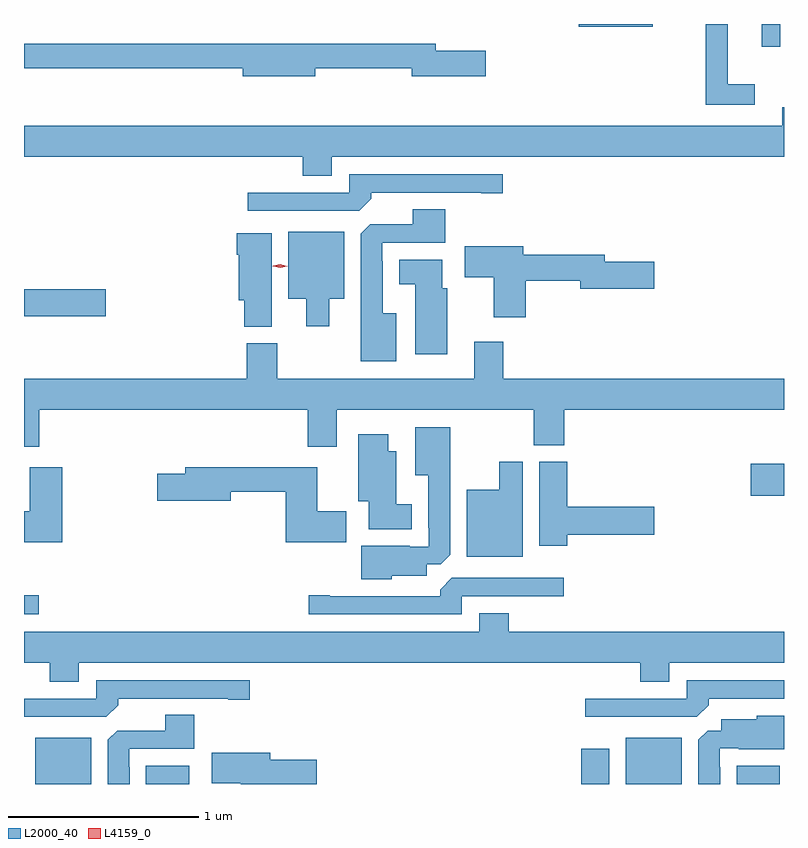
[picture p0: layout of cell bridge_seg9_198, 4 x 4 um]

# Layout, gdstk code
import gdstk
lib = gdstk.Library(unit=1e-6, precision=1e-09)
def R(c, l, rs):  # rectangles x0, y0, x1, y1
    for r in rs: c.add(gdstk.rectangle(r[:2], r[2:], *l))
def P(c, l, *ps):  # polygons
    for p in ps: c.add(gdstk.Polygon(p, *l))
L2000_40 = (2000, 40)
L4159_0 = (4159, 0)

bridge_seg9_198 = lib.new_cell('bridge_seg9_198')
R(bridge_seg9_198, L2000_40, [(169.802,1194.451,170.095,1194.694), (170.384,1194.451,170.611,1194.547), (172.676,1194.451,172.822,1194.637), (172.91,1194.451,173.203,1194.694), (173.492,1194.451,173.719,1194.547), (169.742,1195.344,169.819,1195.445), (173.568,1195.967,173.742,1196.137), (169.742,1196.914,170.173,1197.056), (173.625,1198.332,173.721,1198.451), (172.662,1198.436,173.05,1198.451)])
P(bridge_seg9_198, L2000_40, [(173.587,1198.135),(173.447,1198.135),(173.447,1198.451),(173.329,1198.451),(173.329,1198.026),(173.587,1198.026)],
  [(171.274,1198.218),(171.782,1198.218),(171.782,1198.175),(172.171,1198.175),(172.171,1198.31),(171.91,1198.31),(171.91,1198.346),(169.742,1198.346),(169.742,1198.218),(170.894,1198.218),(170.894,1198.175),(171.274,1198.175)],
  [(171.361,1197.752),(173.742,1197.752),(173.742,1198.014),(173.732,1198.014),(173.732,1197.916),(169.742,1197.916),(169.742,1197.752),(171.209,1197.752),(171.209,1197.653),(171.361,1197.653)],
  [(171.569,1197.53),(171.569,1197.564),(172.148,1197.564),(172.148,1197.559),(172.261,1197.559),(172.261,1197.66),(171.453,1197.66),(171.453,1197.564),(170.919,1197.564),(170.919,1197.468),(171.507,1197.468)],
  [(171.7,1196.929),(171.631,1196.929),(171.631,1197.203),(171.627,1197.203),(171.627,1197.3),(171.958,1197.3),(171.958,1197.475),(171.788,1197.475),(171.788,1197.396),(171.564,1197.396),(171.515,1197.347),(171.515,1196.675),(171.7,1196.675)],
  [(171.349,1197.005),(171.427,1197.005),(171.427,1197.358),(171.134,1197.358),(171.134,1197.005),(171.227,1197.005),(171.227,1196.859),(171.349,1196.859)],
  [(171.046,1197.349),(170.861,1197.349),(170.861,1197.236),(170.873,1197.236),(170.873,1196.996),(170.9,1196.996),(170.9,1196.857),(171.046,1196.857)],
  [(172.382,1197.1),(172.67,1197.1),(172.67,1197.058),(173.059,1197.058),(173.059,1197.2),(172.798,1197.2),(172.798,1197.236),(172.369,1197.236),(172.369,1197.28),(172.062,1197.28),(172.062,1197.118),(172.214,1197.118),(172.214,1196.907),(172.382,1196.907)],
  [(171.97,1197.06),(171.943,1197.06),(171.943,1197.211),(171.716,1197.211),(171.716,1197.08),(171.8,1197.08),(171.8,1196.712),(171.97,1196.712)],
  [(169.823,1196.42),(171.236,1196.42),(171.236,1196.226),(171.388,1196.226),(171.388,1196.42),(172.426,1196.42),(172.426,1196.233),(172.586,1196.233),(172.586,1196.42),(173.742,1196.42),(173.742,1196.584),(172.265,1196.584),(172.265,1196.779),(172.112,1196.779),(172.112,1196.584),(171.075,1196.584),(171.075,1196.772),(170.915,1196.772),(170.915,1196.584),(169.742,1196.584),(169.742,1196.226),(169.823,1196.226)],
  [(171.678,1195.547),(171.862,1195.547),(171.862,1195.608),(171.936,1195.608),(171.985,1195.657),(171.985,1196.329),(171.8,1196.329),(171.8,1196.075),(171.869,1196.075),(171.869,1195.801),(171.873,1195.801),(171.873,1195.701),(171.773,1195.701),(171.773,1195.705),(171.518,1195.705),(171.518,1195.529),(171.678,1195.529)],
  [(171.784,1195.924),(171.7,1195.924),(171.7,1196.203),(171.658,1196.203),(171.658,1196.293),(171.5,1196.293),(171.5,1195.94),(171.557,1195.94),(171.557,1195.793),(171.784,1195.793)],
  [(172.601,1195.763),(173.059,1195.763),(173.059,1195.91),(172.601,1195.91),(172.601,1196.148),(172.454,1196.148),(172.454,1195.704),(172.601,1195.704)],
  [(172.366,1196.146),(172.244,1196.146),(172.244,1195.999),(172.073,1195.999),(172.073,1195.646),(172.366,1195.646)],
  [(171.439,1195.887),(171.286,1195.887),(171.286,1196.119),(170.591,1196.119),(170.591,1196.085),(170.442,1196.085),(170.442,1195.943),(170.83,1195.943),(170.83,1195.99),(171.119,1195.99),(171.119,1195.724),(171.439,1195.724)],
  [(169.942,1196.119),(169.772,1196.119),(169.772,1195.887),(169.742,1195.887),(169.742,1195.724),(169.942,1195.724)],
  [(172.047,1195.44),(172.582,1195.44),(172.582,1195.536),(171.993,1195.536),(171.932,1195.474),(171.932,1195.44),(171.352,1195.44),(171.352,1195.445),(171.24,1195.445),(171.24,1195.344),(172.047,1195.344)],
  [(170.029,1195.088),(172.985,1195.088),(172.985,1194.989),(173.137,1194.989),(173.137,1195.088),(173.742,1195.088),(173.742,1195.252),(172.292,1195.252),(172.292,1195.351),(172.139,1195.351),(172.139,1195.252),(169.742,1195.252),(169.742,1195.088),(169.877,1195.088),(169.877,1194.989),(170.029,1194.989)],
  [(170.237,1194.866),(170.237,1194.9),(170.816,1194.9),(170.816,1194.895),(170.929,1194.895),(170.929,1194.996),(170.121,1194.996),(170.121,1194.9),(169.742,1194.9),(169.742,1194.804),(170.175,1194.804)],
  [(173.345,1194.866),(173.345,1194.9),(173.742,1194.9),(173.742,1194.996),(173.229,1194.996),(173.229,1194.9),(172.695,1194.9),(172.695,1194.804),(173.283,1194.804)],
  [(170.299,1194.539),(170.295,1194.539),(170.295,1194.636),(170.639,1194.636),(170.639,1194.815),(170.486,1194.815),(170.486,1194.732),(170.232,1194.732),(170.183,1194.683),(170.183,1194.451),(170.299,1194.451)],
  [(173.407,1194.539),(173.403,1194.539),(173.403,1194.639),(173.503,1194.639),(173.503,1194.635),(173.742,1194.635),(173.742,1194.811),(173.598,1194.811),(173.598,1194.793),(173.411,1194.793),(173.411,1194.732),(173.34,1194.732),(173.291,1194.683),(173.291,1194.451),(173.407,1194.451)],
  [(171.283,1194.578),(171.037,1194.578),(171.037,1194.616),(170.73,1194.616),(170.73,1194.454),(170.882,1194.454),(170.882,1194.451),(171.283,1194.451)])
P(bridge_seg9_198, L4159_0, [(171.09,1197.167),(171.053,1197.177),(171.052,1197.177),(171.053,1197.178),(171.09,1197.187),(171.127,1197.177),(171.127,1197.177),(171.127,1197.177)])

lib.write_gds('bridge_seg9_198.gds')
